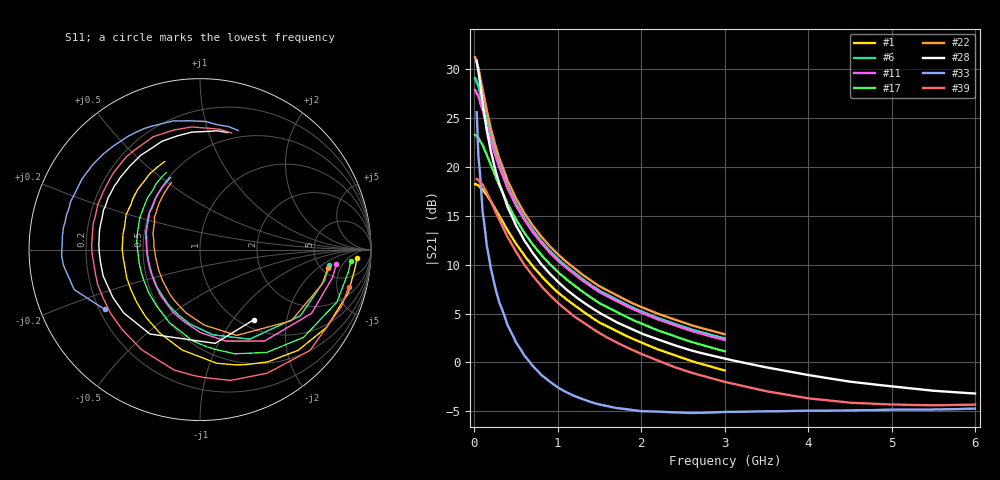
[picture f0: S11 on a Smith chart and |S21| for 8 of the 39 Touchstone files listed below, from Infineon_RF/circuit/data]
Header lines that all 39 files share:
! Infineon Technologies  Discrete & RF Semiconductors
! Common Emitter S-Parameters:  Nov 2015
# GHz  S  MA  R  50
!  f  S11  S21  S12  S22
! GHz  MAG  ANG  MAG  ANG  MAG  ANG  MAG  ANG
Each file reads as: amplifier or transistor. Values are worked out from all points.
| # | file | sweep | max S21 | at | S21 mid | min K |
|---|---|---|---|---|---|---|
| 1 | BFR93A_VCE_8.0V_IC_2.5mA.s2p | 10 MHz to 3 GHz | 18.2 dB | 10 MHz | 5.7 dB at 1.22 GHz | 0.04 |
| 2 | BFR93A_VCE_8.0V_IC_4.0mA.s2p | 10 MHz to 3 GHz | 21.8 dB | 10 MHz | 7.1 dB at 1.22 GHz | 0.07 |
| 3 | BFR93A_VCE_8.0V_IC_6.0mA.s2p | 10 MHz to 3 GHz | 24.7 dB | 10 MHz | 8.0 dB at 1.22 GHz | 0.06 |
| 4 | BFR93A_VCE_8.0V_IC_8.0mA.s2p | 10 MHz to 3 GHz | 26.6 dB | 10 MHz | 8.5 dB at 1.22 GHz | 0.11 |
| 5 | BFR93A_VCE_8.0V_IC_10mA.s2p | 10 MHz to 3 GHz | 28.0 dB | 10 MHz | 8.8 dB at 1.22 GHz | 0.12 |
| 6 | BFR93A_VCE_8.0V_IC_12mA.s2p | 10 MHz to 3 GHz | 29.0 dB | 10 MHz | 9.0 dB at 1.22 GHz | 0.13 |
| 7 | BFR93A_VCE_8.0V_IC_15mA.s2p | 10 MHz to 3 GHz | 30.2 dB | 10 MHz | 9.2 dB at 1.22 GHz | 0.14 |
| 8 | BFR93A_VCE_8.0V_IC_25mA.s2p | 10 MHz to 3 GHz | 32.6 dB | 10 MHz | 9.5 dB at 1.22 GHz | 0.21 |
| 9 | BFR93A_VCE_8.0V_IC_30mA.s2p | 10 MHz to 3 GHz | 33.2 dB | 10 MHz | 9.5 dB at 1.22 GHz | 0.24 |
| 10 | BFR93A_VCE_10.V_IC_8.0mA.s2p | 10 MHz to 3 GHz | 26.5 dB | 10 MHz | 8.6 dB at 1.22 GHz | 0.13 |
| 11 | BFR93A_VCE_10.V_IC_10mA.s2p | 10 MHz to 3 GHz | 27.8 dB | 10 MHz | 8.9 dB at 1.22 GHz | 0.14 |
| 12 | BFR93A_VCE_10.V_IC_20mA.s2p | 10 MHz to 3 GHz | 31.4 dB | 10 MHz | 9.5 dB at 1.22 GHz | 0.19 |
| 13 | BFR93A_VCE_10.V_IC_30mA.s2p | 10 MHz to 3 GHz | 32.9 dB | 10 MHz | 9.5 dB at 1.22 GHz | 0.23 |
| 14 | BFR93A_VCE_12.V_IC_2.0mA.s2p | 10 MHz to 3 GHz | 15.7 dB | 20 MHz | 4.8 dB at 1.22 GHz | 0.02 |
| 15 | BFR93A_VCE_12.V_IC_2.5mA.s2p | 10 MHz to 3 GHz | 18.2 dB | 10 MHz | 5.8 dB at 1.22 GHz | 0.06 |
| 16 | BFR93A_VCE_12.V_IC_4.0mA.s2p | 10 MHz to 3 GHz | 21.7 dB | 10 MHz | 7.2 dB at 1.22 GHz | 0.09 |
| 17 | BFR93A_VCE_12.V_IC_5.0mA.s2p | 10 MHz to 3 GHz | 23.3 dB | 10 MHz | 7.7 dB at 1.22 GHz | 0.10 |
| 18 | BFR93A_VCE_12.V_IC_6.0mA.s2p | 10 MHz to 3 GHz | 24.5 dB | 10 MHz | 8.1 dB at 1.22 GHz | 0.12 |
| 19 | BFR93A_VCE_12.V_IC_10mA.s2p | 10 MHz to 3 GHz | 27.7 dB | 10 MHz | 8.9 dB at 1.22 GHz | 0.17 |
| 20 | BFR93A_VCE_12.V_IC_12mA.s2p | 10 MHz to 3 GHz | 28.7 dB | 10 MHz | 9.1 dB at 1.22 GHz | 0.17 |
| 21 | BFR93A_VCE_12.V_IC_15mA.s2p | 10 MHz to 3 GHz | 29.9 dB | 10 MHz | 9.3 dB at 1.22 GHz | 0.20 |
| 22 | BFR93A_VCE_12.V_IC_20mA.s2p | 10 MHz to 3 GHz | 31.2 dB | 10 MHz | 9.5 dB at 1.22 GHz | 0.22 |
| 23 | BFR93A_VCE_12.V_IC_25mA.s2p | 10 MHz to 3 GHz | 32.0 dB | 10 MHz | 9.5 dB at 1.22 GHz | 0.24 |
| 24 | BFR93AW_VCE_0.50V_IC_1.5mA.s2p | 30 MHz to 6 GHz | 14.6 dB | 30 MHz | 0.4 dB at 1.56 GHz | 0.02 |
| 25 | BFR93AW_VCE_0.50V_IC_3.0mA.s2p | 30 MHz to 6 GHz | 20.1 dB | 30 MHz | 2.8 dB at 1.56 GHz | 0.06 |
| 26 | BFR93AW_VCE_0.50V_IC_10mA.s2p | 30 MHz to 6 GHz | 28.5 dB | 30 MHz | 4.8 dB at 1.56 GHz | 0.16 |
| 27 | BFR93AW_VCE_0.50V_IC_13mA.s2p | 30 MHz to 6 GHz | 29.9 dB | 30 MHz | 4.9 dB at 1.56 GHz | 0.19 |
| 28 | BFR93AW_VCE_0.50V_IC_16mA.s2p | 30 MHz to 6 GHz | 30.8 dB | 30 MHz | 4.8 dB at 1.56 GHz | 0.24 |
| 29 | BFR93AW_VCE_0.50V_IC_20mA.s2p | 30 MHz to 6 GHz | 31.5 dB | 30 MHz | 4.5 dB at 1.56 GHz | 0.29 |
| 30 | BFR93AW_VCE_0.50V_IC_25mA.s2p | 30 MHz to 6 GHz | 31.6 dB | 30 MHz | 3.5 dB at 1.56 GHz | 0.36 |
| 31 | BFR93AW_VCE_0.50V_IC_30mA.s2p | 30 MHz to 6 GHz | 30.9 dB | 30 MHz | 1.6 dB at 1.56 GHz | 0.48 |
| 32 | BFR93AW_VCE_0.50V_IC_38mA.s2p | 30 MHz to 6 GHz | 28.9 dB | 30 MHz | -1.6 dB at 1.56 GHz | 0.66 |
| 33 | BFR93AW_VCE_0.50V_IC_50mA.s2p | 30 MHz to 6 GHz | 25.6 dB | 30 MHz | -4.4 dB at 1.56 GHz | 0.85 |
| 34 | BFR93AW_VCE_0.50V_IC_65mA.s2p | 30 MHz to 6 GHz | 23.2 dB | 30 MHz | -6.2 dB at 1.56 GHz | 0.98 |
| 35 | BFR93AW_VCE_0.50V_IC_80mA.s2p | 30 MHz to 6 GHz | 21.5 dB | 30 MHz | -7.4 dB at 1.56 GHz | 1.05 |
| 36 | BFR93AW_VCE_0.75V_IC_0.10A.s2p | 30 MHz to 6 GHz | 23.2 dB | 30 MHz | -6.2 dB at 1.56 GHz | 1.06 |
| 37 | BFR93AW_VCE_0.75V_IC_1.5mA.s2p | 30 MHz to 6 GHz | 14.5 dB | 30 MHz | 0.8 dB at 1.56 GHz | 0.01 |
| 38 | BFR93AW_VCE_0.75V_IC_2.0mA.s2p | 30 MHz to 6 GHz | 16.9 dB | 30 MHz | 2.0 dB at 1.56 GHz | 0.02 |
| 39 | BFR93AW_VCE_0.75V_IC_2.5mA.s2p | 30 MHz to 6 GHz | 18.8 dB | 30 MHz | 2.7 dB at 1.56 GHz | 0.03 |

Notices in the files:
2_Circuitos/VCO/Simulacion/modelos/Infineon_RF/circuit/data/BFR93AW_VCE_0.50V_IC_1.5mA.s2p:
(c) 2015  Infineon Technologies AG, Munich
